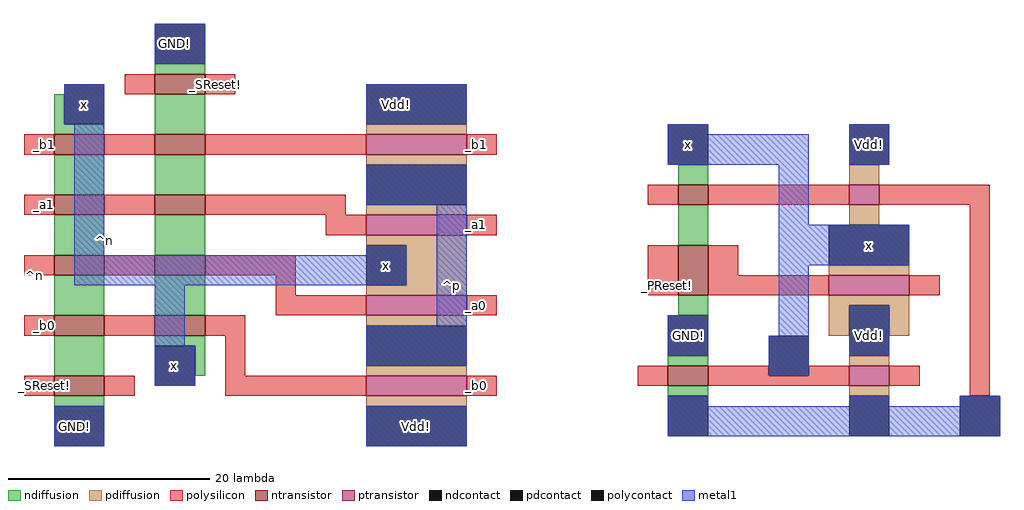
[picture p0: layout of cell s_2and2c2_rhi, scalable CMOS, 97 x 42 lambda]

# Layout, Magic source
magic
tech scmos
<< ndiffusion >>
rect -39 133 -34 134
rect -49 128 -48 131
rect -49 127 -44 128
rect -39 127 -34 131
rect -49 121 -44 125
rect -39 121 -34 125
rect 13 122 16 124
rect -49 115 -44 119
rect -39 115 -34 119
rect 13 116 16 120
rect -49 109 -44 113
rect -39 109 -34 113
rect 13 109 16 111
rect -49 103 -44 107
rect -39 106 -34 107
rect -35 103 -34 106
rect 12 104 16 105
rect 12 101 16 102
rect -49 100 -44 101
<< pdiffusion >>
rect -18 127 -8 128
rect -18 124 -8 125
rect 30 122 33 124
rect -18 119 -8 120
rect -18 116 -8 117
rect 30 118 33 120
rect -14 112 -8 116
rect -18 111 -8 112
rect 28 113 36 114
rect -18 108 -8 109
rect 28 110 36 111
rect 28 107 30 110
rect -18 103 -8 104
rect 34 107 36 110
rect 30 104 34 105
rect -18 100 -8 101
rect 30 101 34 102
<< ntransistor >>
rect -39 131 -34 133
rect -49 125 -44 127
rect -39 125 -34 127
rect -49 119 -44 121
rect -39 119 -34 121
rect 13 120 16 122
rect -49 113 -44 115
rect -39 113 -34 115
rect 13 111 16 116
rect -49 107 -44 109
rect -39 107 -34 109
rect -49 101 -44 103
rect 12 102 16 104
<< ptransistor >>
rect -18 125 -8 127
rect 30 120 33 122
rect -18 117 -8 119
rect 28 111 36 113
rect -18 109 -8 111
rect -18 101 -8 103
rect 30 102 34 104
<< polysilicon >>
rect -42 131 -39 133
rect -34 131 -31 133
rect -52 125 -49 127
rect -44 125 -39 127
rect -34 125 -18 127
rect -8 125 -5 127
rect -52 119 -49 121
rect -44 119 -39 121
rect -34 119 -20 121
rect 10 120 13 122
rect 16 120 30 122
rect 33 120 44 122
rect -22 117 -18 119
rect -8 117 -5 119
rect -52 113 -49 115
rect -44 113 -39 115
rect -34 113 -25 115
rect -27 111 -25 113
rect 10 111 13 116
rect 16 113 19 116
rect 16 111 28 113
rect 36 111 39 113
rect -27 109 -18 111
rect -8 109 -5 111
rect -52 107 -49 109
rect -44 107 -39 109
rect -34 107 -30 109
rect -52 101 -49 103
rect -44 101 -41 103
rect -32 103 -30 107
rect -32 101 -18 103
rect -8 101 -5 103
rect 9 102 12 104
rect 16 103 22 104
rect 26 103 30 104
rect 16 102 30 103
rect 34 102 37 104
rect 42 101 44 120
<< ndcontact >>
rect -39 134 -34 138
rect -48 128 -44 132
rect 12 124 16 128
rect -39 102 -35 106
rect 12 105 16 109
rect -49 96 -44 100
rect 12 97 16 101
<< pdcontact >>
rect -18 128 -8 132
rect -18 120 -8 124
rect 30 124 34 128
rect -18 112 -14 116
rect 28 114 36 118
rect -18 104 -8 108
rect 30 105 34 110
rect -18 96 -8 100
rect 30 97 34 101
<< polycontact >>
rect 22 103 26 107
rect 41 97 45 101
<< metal1 >>
rect -39 134 -34 138
rect -48 128 -44 132
rect -18 128 -8 132
rect -47 115 -44 128
rect 12 127 16 128
rect 12 124 26 127
rect 30 124 34 128
rect -18 120 -8 124
rect -18 115 -14 116
rect -47 112 -14 115
rect -39 106 -36 112
rect -11 108 -8 120
rect 23 118 26 124
rect 23 114 36 118
rect -39 102 -35 106
rect -18 104 -8 108
rect 12 105 16 109
rect 23 107 26 114
rect 22 103 26 107
rect 30 105 34 110
rect 12 100 16 101
rect 30 100 34 101
rect 41 100 45 101
rect -49 96 -44 100
rect -18 96 -8 100
rect 12 97 45 100
<< labels >>
rlabel space -53 94 -35 139 7 ^n
rlabel space -53 95 -49 131 7 ^n
rlabel polysilicon -50 108 -50 108 7 _b0
rlabel polysilicon -50 114 -50 114 7 _a0
rlabel polysilicon -50 120 -50 120 7 _a1
rlabel polysilicon -50 126 -50 126 7 _b1
rlabel polysilicon -50 102 -50 102 1 _SReset!
rlabel polysilicon -33 132 -33 132 1 _SReset!
rlabel polysilicon -7 110 -7 110 7 _a0
rlabel polysilicon -7 118 -7 118 7 _a1
rlabel polysilicon -7 102 -7 102 7 _b0
rlabel polysilicon -7 126 -7 126 7 _b1
rlabel space -15 95 -4 129 3 ^p
rlabel polysilicon 12 112 12 112 1 _PReset!
rlabel ndcontact -37 104 -37 104 1 x
rlabel ndcontact -37 136 -37 136 6 GND!
rlabel ndcontact -46 130 -46 130 5 x
rlabel ndcontact -47 98 -47 98 2 GND!
rlabel pdcontact -13 98 -13 98 5 Vdd!
rlabel pdcontact -16 114 -16 114 1 x
rlabel pdcontact -15 130 -15 130 5 Vdd!
rlabel pdcontact 32 107 32 107 1 Vdd!
rlabel ndcontact 14 107 14 107 1 GND!
rlabel pdcontact 32 116 32 116 1 x
rlabel pdcontact 32 126 32 126 1 Vdd!
rlabel ndcontact 14 126 14 126 5 x
<< end >>
